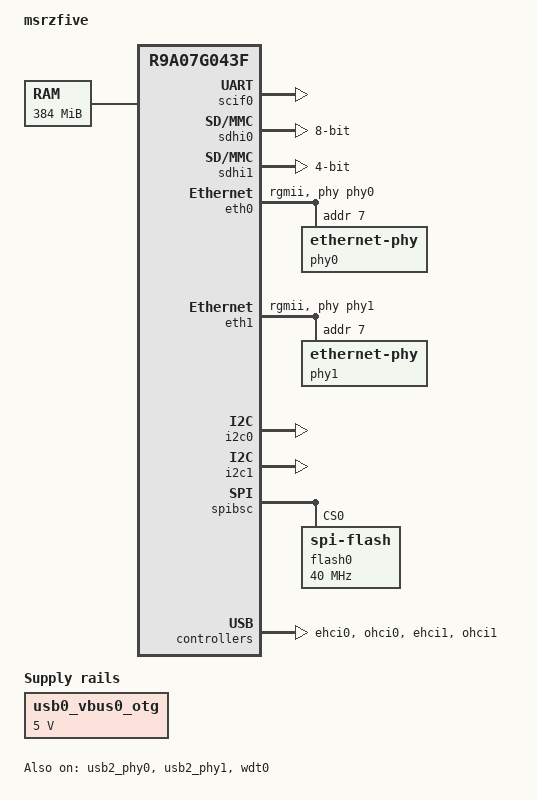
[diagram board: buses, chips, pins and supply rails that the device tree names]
// SPDX-License-Identifier: GPL-2.0
/*
 * Device Tree Source for the MSRZFIVE OSM
 *
 * Copyright (C) 2023 ARIES Embedded
 * Copyright (C) 2017 Jacopo Mondi <jacopo+renesas@jmondi.org>
 * Copyright (C) 2021 Renesas Electronics
 */

/dts-v1/;
#include <dt-bindings/gpio/gpio.h>
#include "r9a07g043f.dtsi"
#include "r9a07g043f-u-boot.dtsi"
#include <dt-bindings/pinctrl/rzg2l-pinctrl.h>

/ {
	model = "msrzfive";
	compatible = "renesas,r9a07g043f", "renesas,rzf";

	aliases {
		serial0 = &scif0;
		spi0 = &spibsc;
	};

	chosen {
		stdout-path = "serial0:115200n8";
	};

	memory@48000000 {
		u-boot,dm-spl;
		device_type = "memory";
		/* first 128MB is reserved for secure area. */
		reg = <0 0x48000000 0 0x18000000>;
	};

	usb0_vbus0_otg: regulator-vbus0-usb2 {
		compatible = "regulator-fixed";
		regulator-name = "USB20_OTG_VBUS";
		regulator-min-microvolt = <5000000>;
		regulator-max-microvolt = <5000000>;
	};
};

&pinctrl {
	eth0_pins: eth0 {
		pinmux = <RZG2L_PINMUX(1, 0, 1)>,
			<RZG2L_PINMUX(1, 1, 1)>,
			<RZG2L_PINMUX(1, 2, 1)>,
			<RZG2L_PINMUX(1, 3, 1)>,
			<RZG2L_PINMUX(1, 4, 1)>,
			<RZG2L_PINMUX(2, 0, 1)>,
			<RZG2L_PINMUX(2, 1, 1)>,
			<RZG2L_PINMUX(2, 2, 1)>,
			<RZG2L_PINMUX(2, 3, 1)>,
			<RZG2L_PINMUX(3, 0, 1)>,
			<RZG2L_PINMUX(3, 1, 1)>,
			<RZG2L_PINMUX(3, 2, 1)>,
			<RZG2L_PINMUX(3, 3, 1)>,
			<RZG2L_PINMUX(4, 0, 1)>,
			<RZG2L_PINMUX(4, 1, 1)>,
			<RZG2L_PINMUX(4, 2, 1)>,
			<RZG2L_PINMUX(4, 3, 1)>,
			<RZG2L_PINMUX(4, 4, 1)>,
			<RZG2L_PINMUX(4, 5, 1)>;
	};
	eth1_pins: eth1 {
		pinmux = <RZG2L_PINMUX(7, 0, 1)>,
			<RZG2L_PINMUX(7, 1, 1)>,
			<RZG2L_PINMUX(7, 2, 1)>,
			<RZG2L_PINMUX(7, 3, 1)>,
			<RZG2L_PINMUX(7, 4, 1)>,
			<RZG2L_PINMUX(8, 0, 1)>,
			<RZG2L_PINMUX(8, 1, 1)>,
			<RZG2L_PINMUX(8, 2, 1)>,
			<RZG2L_PINMUX(8, 3, 1)>,
			<RZG2L_PINMUX(8, 4, 1)>,
			<RZG2L_PINMUX(9, 0, 1)>,
			<RZG2L_PINMUX(9, 1, 1)>,
			<RZG2L_PINMUX(9, 2, 1)>,
			<RZG2L_PINMUX(9, 3, 1)>,
			<RZG2L_PINMUX(10, 0, 1)>,
			<RZG2L_PINMUX(10, 1, 1)>,
			<RZG2L_PINMUX(10, 2, 1)>,
			<RZG2L_PINMUX(10, 3, 1)>,
			<RZG2L_PINMUX(10, 4, 1)>;
	};
	mmc_pins: mmc0 {
		u-boot,dm-spl;
		pinmux = <RZG2L_PINMUX(11, 2, 0)>;
	};
	usb0_pins: usb0 {
		pinmux =
			<RZG2L_PINMUX(5, 0, 1)>, /* VBUS_EN */
			<RZG2L_PINMUX(5, 2, 1)>, /* OVC */
			<RZG2L_PINMUX(5, 3, 1)>; /* OTG_ID */
	};
	usb1_pins: usb1 {
		pinmux =
			<RZG2L_PINMUX(6, 0, 1)>, /* VBUS_EN */
			<RZG2L_PINMUX(6, 1, 1)>; /* OVC */
	};
};

&xinclk {
        clock-frequency = <24000000>;
};

&scif0 {
	status = "okay";
	clock = <100000000>;
};

&sdhi0 {
	bus-width = <8>;
	status = "okay";
	/* This is used for interface that support both eMMC and SD in board */
	mutual-channel;
};

&sdhi1 {
	pinctrl-names = "default";
	pinctrl-0 = <&mmc_pins>;
	bus-width = <4>;
	status = "okay";
	pwr-gpios = <&P11 2 GPIO_ACTIVE_HIGH>;
};

&eth0 {
	pinctrl-names = "default";
	pinctrl-0 = <&eth0_pins>;
	phy-handle = <&phy0>;
	phy-mode = "rgmii";
	status = "okay";

	phy0: ethernet-phy@7 {
	      reg = <7>;
	};
};

&eth1 {
	pinctrl-names = "default";
	pinctrl-0 = <&eth1_pins>;
	phy-handle = <&phy1>;
	phy-mode = "rgmii";
	status = "okay";

	phy1: ethernet-phy@7 {
		reg = <7>;
	};
};

&i2c0 {
	status = "okay";
};

&i2c1 {
	status = "okay";
};

&spibsc {
        status = "okay";
        flash0: spi-flash@0 {
                compatible = "spi-flash", "jedec,spi-nor";
                spi-max-frequency = <40000000>;
                spi-tx-bus-width = <2>;
                spi-rx-bus-width = <2>;
                reg = <0>;
        };
};

&ehci0 {
	status = "okay";
};

&ohci0 {
	status = "okay";
};

&ehci1 {
	status = "okay";
};

&ohci1 {
	status = "okay";
};

&usb2_phy0 {
	status = "okay";
};

&usb2_phy1 {
	status = "okay";
};

&wdt0 {
	status = "okay";
	timeout-sec = <60>;
};
